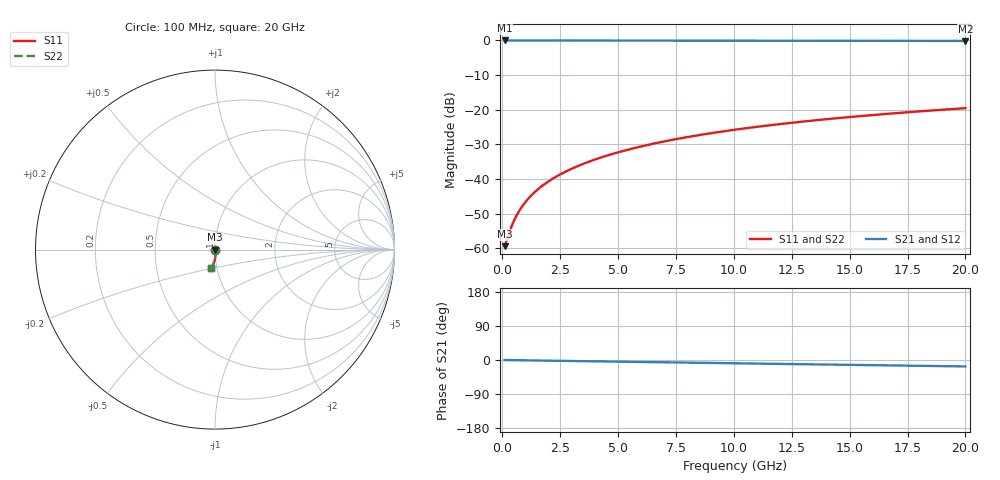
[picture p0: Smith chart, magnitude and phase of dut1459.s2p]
! Touchstone file exported from HFSS 2026.1.0
!  File:  C:/ffzhzh/LocalFiles/Ansys_Project_Files/temp_train_TMRDL_1459_1783167334_55132.aedt
!  Generated:  08:16:40 PM Jul  4, 2026
!  Design:  TMRDL
!  Project:  temp_train_TMRDL_1459_1783167334_55132
! Variables:
!  h_bsmrdl = 2um
!  h_ox = 20um
!  h_rdl = 5um
!  h_sub = 80um
!  h_tmrdl = 4.58um
!  h_tsv = 80um
!  h_via = 3um
!  l_bsmrdl = 300um
!  l_sub = 674.71um
!  l_tmrdl = 274.71um
!  m_sub = 200um
!  pitch = 28.47um
!  r_tsv = 6um
!  s_tmrdl = 10um
!  w_bsmrdl = 18um
!  w_sub = 500um
!  w_tmrdl = 26.5um
!  x_tsv_center1 = 287.96um
!  x_tsv_center2 = 605.96um
!  x_tsv_center3 = 907.17um
!  x_tsv_center4 = 1225.17um
!  x_tsv_center5 = 1526.38um
!  x_tsv_center6 = 1844.38um
# GHz S MA R 50.000000
! Terminal data exported
! Port[1] = TM_RDL1_1_T1
! Port[2] = TM_RDL1_1_T2
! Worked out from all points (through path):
!   200 points, 100 MHz to 20 GHz, reference 50 ohm
!   highest |S21| = -0.01 dB at 100 MHz (marker M1); lowest = -0.1 dB at 20 GHz (marker M2)
!   group delay of S21, straight-line fit = 2.34 ps
!   lowest |S11| = -59.4 dB at 100 MHz (marker M3), VSWR 1.00, Z = 50.1 - j0.0116 ohm
!   |S11| at or under -10 dB: start of sweep to end of sweep
!   |S22| runs from -59.4 to -19.6 dB; largest |S21 - S12| = 5.6e-15
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0.1  0.001072 -6.2  0.9989 -0.1  0.9989 -0.1  0.001072 -6.2
! Gamma 0 0 0 0
! Port Impedance 50 0 50 0
0.3  0.001686 -26.2  0.9985 -0.3  0.9985 -0.3  0.001686 -26.2
0.4  0.002073 -35.3  0.9983 -0.4  0.9983 -0.4  0.002073 -35.3
0.5  0.002482 -42.7  0.9982 -0.5  0.9982 -0.5  0.002482 -42.7
0.6  0.002903 -48.6  0.9981 -0.6  0.9981 -0.6  0.002903 -48.6
0.7  0.003333 -53.3  0.998 -0.7  0.998 -0.7  0.003333 -53.3
0.9  0.004211 -60.2  0.9978 -0.8  0.9978 -0.8  0.004211 -60.2
1.2  0.005556 -66.7  0.9977 -1.1  0.9977 -1.1  0.005556 -66.7
1.4  0.006467 -69.5  0.9976 -1.3  0.9976 -1.3  0.006467 -69.5
1.7  0.007851 -72.6  0.9974 -1.5  0.9974 -1.5  0.007851 -72.6
2.2  0.0102 -76.0  0.9971 -2.0  0.9971 -2.0  0.0102 -76.0
2.8  0.01309 -78.5  0.9967 -2.5  0.9967 -2.5  0.01309 -78.5
3.5  0.01656 -80.4  0.9962 -3.1  0.9962 -3.1  0.01656 -80.4
4.2  0.02011 -81.9  0.9957 -3.7  0.9957 -3.7  0.02011 -81.9
5  0.02426 -83.3  0.995 -4.4  0.995 -4.4  0.02426 -83.3
5.9  0.02901 -84.8  0.9943 -5.2  0.9943 -5.2  0.02901 -84.8
6.8  0.03383 -86.1  0.9936 -5.9  0.9936 -5.9  0.03383 -86.1
8.3  0.04194 -88.1  0.9925 -7.2  0.9925 -7.2  0.04194 -88.1
10.1  0.05174 -90.4  0.9911 -8.7  0.9911 -8.7  0.05173 -90.4
13.4  0.06971 -94.2  0.9886 -11.5  0.9886 -11.5  0.0697 -94.2
16.7  0.08758 -97.6  0.986 -14.2  0.986 -14.2  0.08757 -97.6
20  0.1052 -100.9  0.9831 -17.0  0.9831 -17.0  0.1052 -100.9
